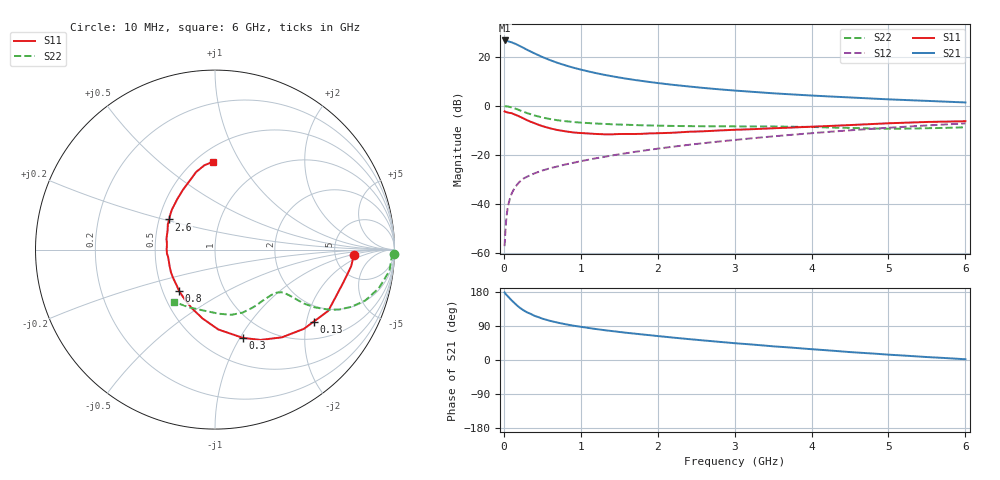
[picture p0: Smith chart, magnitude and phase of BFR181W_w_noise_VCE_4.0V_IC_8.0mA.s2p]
! Infineon Technologies  Discrete & RF Semiconductors
! BFR181W
! VCE =  4.0 V,  IC =  8.0 mA
! Common Emitter S-Parameters:  Jan 2017
# GHz  S  MA  R  50
!  f  S11  S21  S12  S22
! GHz  MAG  ANG  MAG  ANG  MAG  ANG  MAG  ANG
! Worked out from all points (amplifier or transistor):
!   77 points, 10 MHz to 6 GHz, reference 50 ohm
!   highest |S21| = 26.7 dB at 10 MHz (marker M1)
!   |S21| within 3 dB of that: start of sweep to 254.5 MHz
!   unconditionally stable (mu >= 1): 1.102 GHz to 3.071 GHz
!   at 130 MHz: K = 0.24, MSG = 29.7 dB, |S12| = -33.9 dB
!   at 2.2 GHz: K = 1.06, MAG = 11.1 dB, |S12| = -16.6 dB
!   at 6 GHz: K = 0.85, MSG = 4.3 dB, |S12| = -7.1 dB
!   lowest NFmin = 1.14 dB at 450 MHz
!   S11 on the Smith chart (normalised r, x): 10 MHz: 7.73, -1.10; 130 MHz: 1.48, -2.21; 300 MHz: 0.77, -1.03; 800 MHz: 0.61, -0.31; 2.6 GHz: 0.57, +0.21; 6 GHz: 0.60, +0.78
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0.01  0.7749 -2.1  21.57 178.3  0.0014 92.5  0.9949 -1.3
0.02  0.764 -7.1  21.47 175.0  0.0028 99.9  0.9853 -2.6
0.05  0.7384 -14.3  20.9 168.5  0.0084 81.1  0.9791 -7.0
0.07  0.7248 -19.8  20.38 164.2  0.0115 78.6  0.9607 -9.5
0.1  0.7175 -28.4  19.81 157.5  0.0162 76.7  0.9367 -13.4
0.13  0.6807 -36.1  18.92 151.9  0.0201 73.3  0.9041 -16.5
0.15  0.6636 -41.7  18.44 147.9  0.0227 71.7  0.884 -18.7
0.2  0.6145 -52.7  16.85 139.1  0.0282 67.8  0.8251 -22.7
0.25  0.5639 -63.2  15.41 131.9  0.0329 64.4  0.7698 -25.7
0.3  0.5156 -72.5  13.99 125.9  0.0362 61.9  0.7186 -27.8
0.4  0.4455 -87.6  11.73 116.4  0.0426 59.9  0.6403 -30.1
0.5  0.3894 -100.4  9.934 109.2  0.0485 59.7  0.5825 -31.2
0.6  0.351 -111.6  8.595 103.4  0.054 59.2  0.5422 -31.4
0.8  0.3052 -130.8  6.722 94.4  0.0644 61.7  0.4906 -31.6
1.1  0.2757 -153.1  5.048 84.6  0.0806 63.4  0.4488 -32.3
1.5  0.2687 -175.6  3.799 74.1  0.1038 64.9  0.4187 -35.0
2.1  0.2818 160.8  2.811 61.2  0.1416 65.1  0.3953 -42.7
2.6  0.3057 146.7  2.327 51.5  0.1752 63.9  0.3869 -51.1
3.1  0.3315 134.9  2.009 42.8  0.2106 61.8  0.3837 -59.7
4.1  0.3841 116.3  1.602 27.1  0.2871 55.7  0.3704 -77.7
5.1  0.4501 102.4  1.345 12.9  0.3683 47.6  0.3453 -103.2
6  0.4901 91.3  1.18 2.0  0.4422 39.1  0.3688 -127.8
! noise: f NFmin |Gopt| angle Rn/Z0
0.45  1.14  0.2  16  0.21
0.9  1.18  0.19  31  0.21
1.9  1.6  0.07  92  0.2
2.4  1.76  0.06  100  0.23
